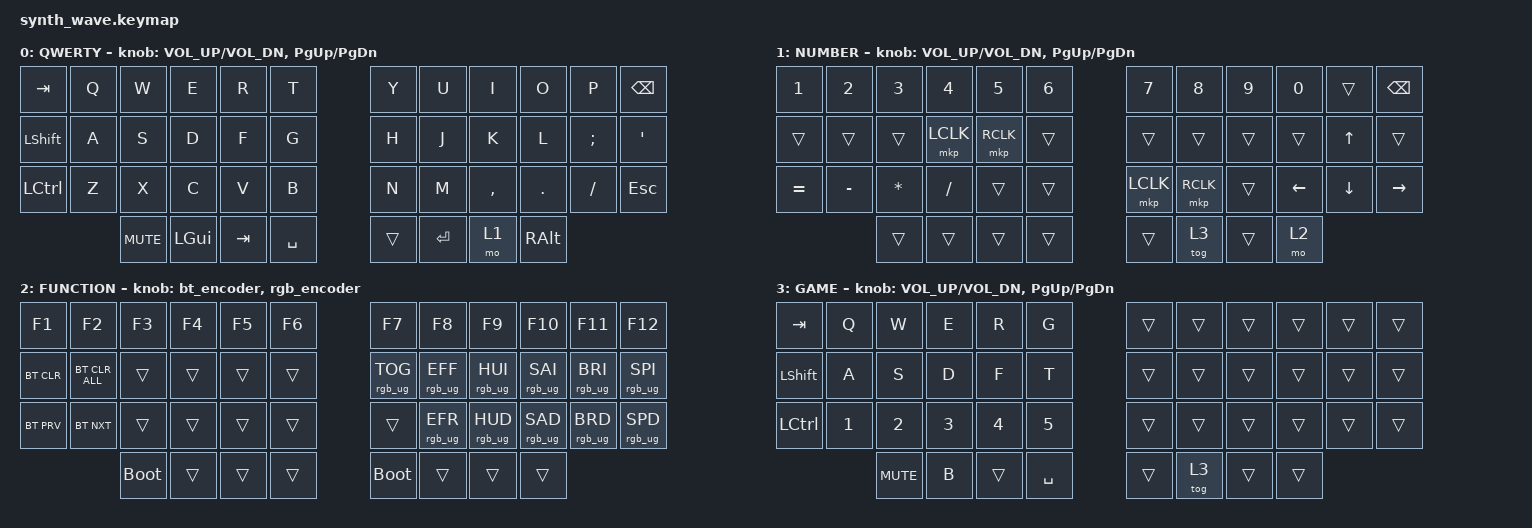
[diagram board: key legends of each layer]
/*
 * Copyright (c) 2023 The ZMK Contributors
 *
 * SPDX-License-Identifier: MIT
 */

#include <behaviors.dtsi>
#include <dt-bindings/zmk/keys.h>
#include <dt-bindings/zmk/bt.h>
#include <dt-bindings/zmk/ext_power.h>
#include <dt-bindings/zmk/rgb.h>
#include <dt-bindings/zmk/mouse.h>

#define ZMK_BEHAVIORS_OMIT_KT

#include <behaviors.dtsi>

/ {
    
    keymap {
        compatible = "zmk,keymap";
        qwerty_layer {
            label = "QWERTY";
            display-name = "QWERTY";
            bindings = <
                &kp TAB &kp Q &kp W &kp E &kp R &kp T                       &kp Y   &kp U     &kp I   &kp O   &kp P   &kp BSPC
                &kp LSHIFT &kp A &kp S &kp D &kp F &kp G                    &kp H   &kp J     &kp K   &kp L   &kp SEMICOLON    &kp SINGLE_QUOTE
                &kp LCTRL &kp Z &kp X &kp C &kp V &kp B                     &kp N   &kp M   &kp COMMA &kp DOT &kp SLASH &kp ESC
                            &kp C_MUTE &kp LGUI &kp TAB &kp SPACE        &trans &kp ENTER &mo 1 &kp RALT
            >;
            sensor-bindings = <&inc_dec_kp C_VOL_UP C_VOL_DN &inc_dec_kp PG_UP PG_DN>;
        };
        number_layer {
            label = "NUMBER";
            display-name = "NUMBER";
            bindings = <
                &kp N1 &kp N2 &kp N3 &kp N4 &kp N5 &kp N6                                     &kp N7 &kp N8 &kp N9 &kp N0 &trans &kp BSPC
                &trans &trans &trans &mkp LCLK &mkp RCLK &trans                               &trans &trans &trans &trans &kp UP_ARROW &trans
                &kp EQUAL &kp MINUS &kp ASTERISK &kp SLASH &trans &trans  &mkp LCLK &mkp RCLK &trans &kp LEFT_ARROW &kp DOWN_ARROW &kp RIGHT_ARROW
                                            &trans &trans &trans &trans     &trans &tog 3 &trans &mo 2
            >;
            sensor-bindings = <&inc_dec_kp C_VOL_UP C_VOL_DN &inc_dec_kp PG_UP PG_DN>;
        };
        function_layer {
            label = "FUNCTION";
            display-name = "FUNCTION";
            bindings = <
                &kp F1 &kp F2 &kp F3 &kp F4 &kp F5 &kp F6                       &kp F7 &kp F8 &kp F9 &kp F10 &kp F11 &kp F12
                &bt BT_CLR &bt BT_CLR_ALL &trans &trans &trans &trans           &rgb_ug RGB_TOG &rgb_ug RGB_EFF &rgb_ug RGB_HUI &rgb_ug RGB_SAI &rgb_ug RGB_BRI &rgb_ug RGB_SPI
                &bt BT_PRV &bt BT_NXT &trans &trans &trans &trans               &trans &rgb_ug RGB_EFR &rgb_ug RGB_HUD &rgb_ug RGB_SAD &rgb_ug RGB_BRD &rgb_ug RGB_SPD
                                        &bootloader  &trans &trans &trans     &bootloader &trans &trans &trans
            >;
            sensor-bindings = <&bt_encoder &rgb_encoder>;
        };
        game_layer {
            label = "GAME";
            display-name = "GAME";
            bindings = <
                &kp TAB &kp Q &kp W &kp E &kp R &kp G                     &trans &trans &trans &trans &trans &trans
                &kp LSHIFT &kp A &kp S &kp D &kp F &kp T                  &trans &trans &trans &trans &trans &trans
                &kp LCTRL &kp N1 &kp N2 &kp N3 &kp N4 &kp N5              &trans &trans &trans &trans &trans &trans
                            &kp C_MUTE &kp B &trans &kp SPACE       &trans &tog 3 &trans &trans
            >;
            sensor-bindings = <&inc_dec_kp C_VOL_UP C_VOL_DN &inc_dec_kp PG_UP PG_DN>;
        };
        extra1 {
            status = "reserved";
        };
        extra2 {
            status = "reserved";
        };
    };
};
